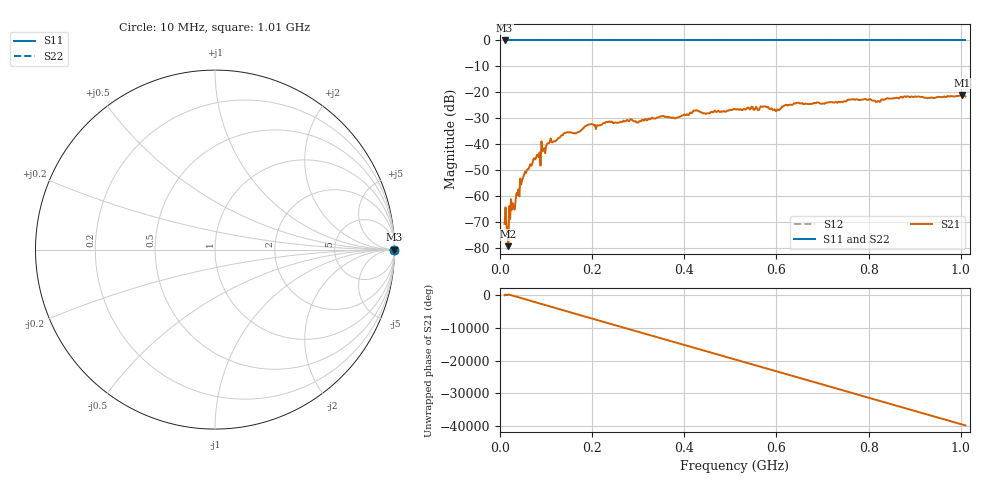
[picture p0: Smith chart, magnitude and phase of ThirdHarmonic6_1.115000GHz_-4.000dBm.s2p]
! 8/16/2025 10:39:10 AM
! C:\ANRITSUVNA\TEMP\TEMP.S2P
! CHANNEL.1
! TR.MEASUREMENT
! RAW.DATA
! RF.CORRECTION.OFF
! AVERAGING.OFF
! IF.BANDWIDTH: 5KHZ
! SWEEPTYPE:  FREQ.SWEEP(Linear)
! Reference Plane Port Info
! PORT:  PORT1  PORT2
! DISTANCE:  0  m  0  m
! TIME:  0  s  0  s
! PHASE.OFFSET:  0  deg.  0  deg.
! LOSS:  0  dB  0  dB
! REF.LOSS:  0  dB  0  dB
! REF.FREQ:  0  Hz  0  Hz
! Power Info
! POWER:  -20  dBm  -20  dBm
! EFF.POWER:  -20  dBm  -20  dBm
! SOURCE.ATTEN:  0  dB  0  dB
! TEST.ATTEN:  0  dB  0  dB
# GHZ S RI R 50.0
! FREQ.GHZ  S11RE  S11IM  S21RE  S21IM  S12RE  S12IM  S22RE  S22IM
!; PortSelection: Port_12
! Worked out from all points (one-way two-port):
!   501 points, 10 MHz to 1.01 GHz, reference 50 ohm
!   highest |S21| = -20.96 dB at 1.002 GHz (marker M1); lowest = -79.1 dB at 18 MHz (marker M2)
!   lowest |S11| = 0.0 dB at 10 MHz (marker M3)
!   |S11| at or under -10 dB: nowhere
!   |S22| runs from 0.0 to 0.0 dB; largest |S21 - S12| = 1.1
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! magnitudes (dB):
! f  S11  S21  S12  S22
! 10 MHz  0.0  -70.5  0.0  0.0
! 14 MHz  0.0  -70.8  0.0  0.0
! 16 MHz  0.0  -75.2  0.0  0.0
! 18 MHz  0.0  -79.1  0.0  0.0
! 24 MHz  0.0  -61.1  0.0  0.0
! 30 MHz  0.0  -64.7  0.0  0.0
! 48 MHz  0.0  -53.8  0.0  0.0
! 76 MHz  0.0  -45.8  0.0  0.0
! 84 MHz  0.0  -44.9  0.0  0.0
! 106 MHz  0.0  -39.5  0.0  0.0
! 142 MHz  0.0  -35.6  0.0  0.0
! 178 MHz  0.0  -34.2  0.0  0.0
! 196 MHz  0.0  -32.3  0.0  0.0
! 344 MHz  0.0  -29.6  0.0  0.0
! 510 MHz  0.0  -26.4  0.0  0.0
! 572 MHz  0.0  -25.4  0.0  0.0
! 602 MHz  0.0  -26.5  0.0  0.0
! 642 MHz  0.0  -24.2  0.0  0.0
! 678 MHz  0.0  -24.4  0.0  0.0
! 844 MHz  0.0  -22.4  0.0  0.0
! 1.002 GHz  0.0  -21.0  0.0  0.0
! 1.01 GHz  0.0  -21.5  0.0  0.0
